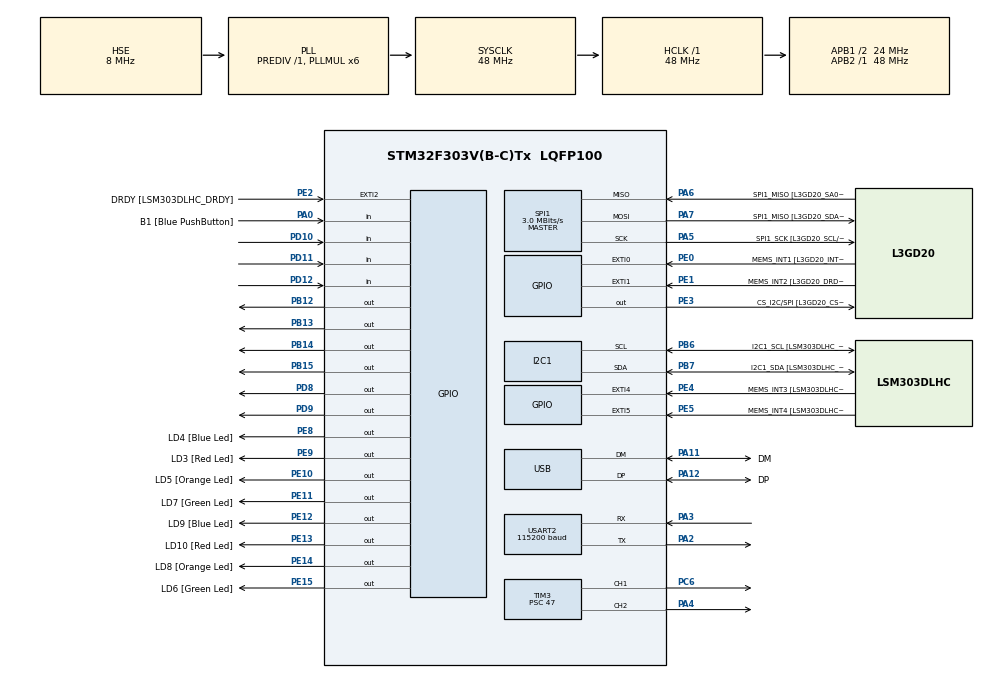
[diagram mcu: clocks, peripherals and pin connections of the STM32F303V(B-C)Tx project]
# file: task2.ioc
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I2C1.Timing=0x00201D2B
I2C1.Timing-I2C=0x2000090E
Mcu.Family=STM32F3
Mcu.Name=STM32F303V(B-C)Tx
Mcu.Package=LQFP100
NVIC.PriorityGroup=NVIC_PRIORITYGROUP_0
NVIC.TIM2_IRQn=true\:0\:0\:false\:false\:true\:true\:true\:true
NVIC.TIM3_IRQn=true\:0\:0\:false\:false\:true\:true\:true\:true
NVIC.USART2_IRQn=true\:0\:0\:false\:false\:true\:true\:true\:true
NVIC.USB_LP_CAN_RX0_IRQn=true\:0\:0\:false\:false\:true\:false\:true\:true
PA0.GPIO_Label=B1 [Blue PushButton]
PA0.Signal=GPIO_Input
PA11.GPIO_Label=DM
PA11.Mode=Device
PA11.Signal=USB_DM
PA12.GPIO_Label=DP
PA12.Mode=Device
PA12.Signal=USB_DP
PA13.GPIO_Label=SWDIO
PA13.Mode=Serial_Wire
PA13.Signal=SYS_JTMS-SWDIO
PA14.GPIO_Label=SWCLK
PA14.Mode=Serial_Wire
PA14.Signal=SYS_JTCK-SWCLK
PA2.Mode=Asynchronous
PA2.Signal=USART2_TX
PA3.Mode=Asynchronous
PA3.Signal=USART2_RX
PA4.Signal=S_TIM3_CH2
PA5.GPIO_Label=SPI1_SCK [L3GD20_SCL/SPC]
PA5.Mode=Full_Duplex_Master
PA5.Signal=SPI1_SCK
PA6.GPIO_Label=SPI1_MISO [L3GD20_SA0/SDO]
PA6.Mode=Full_Duplex_Master
PA6.Signal=SPI1_MISO
PA7.GPIO_Label=SPI1_MISO [L3GD20_SDA/SDI/SDO]
PA7.Mode=Full_Duplex_Master
PA7.Signal=SPI1_MOSI
PB12.Signal=GPIO_Output
PB13.Signal=GPIO_Output
PB14.Signal=GPIO_Output
PB15.Signal=GPIO_Output
PB3.GPIO_Label=SWO
PB3.Signal=SYS_JTDO-TRACESWO
PB6.GPIO_Label=I2C1_SCL [LSM303DLHC_SCL]
PB6.GPIO_Pu=GPIO_PULLUP
PB6.Mode=I2C
PB6.Signal=I2C1_SCL
PB7.GPIO_Label=I2C1_SDA [LSM303DLHC_SDA]
PB7.GPIO_Pu=GPIO_PULLUP
PB7.Mode=I2C
PB7.Signal=I2C1_SDA
PC14-OSC32_IN.GPIO_Label=OSC32_IN
PC14-OSC32_IN.Signal=RCC_OSC32_IN
PC15-OSC32_OUT.GPIO_Label=OSC32_OUT
PC15-OSC32_OUT.Signal=RCC_OSC32_OUT
PC6.Signal=S_TIM3_CH1
PD10.Signal=GPIO_Input
PD11.Signal=GPIO_Input
PD12.Signal=GPIO_Input
PD8.Signal=GPIO_Output
PD9.Signal=GPIO_Output
PE0.GPIO_Label=MEMS_INT1 [L3GD20_INT1]
PE0.GPIO_ModeDefaultEXTI=GPIO_MODE_EVT_RISING
PE0.Signal=GPXTI0
PE1.GPIO_Label=MEMS_INT2 [L3GD20_DRDY/INT2]
PE1.GPIO_ModeDefaultEXTI=GPIO_MODE_EVT_RISING
PE1.Signal=GPXTI1
PE10.GPIO_Label=LD5 [Orange Led]
PE10.Signal=GPIO_Output
PE11.GPIO_Label=LD7 [Green Led]
PE11.Signal=GPIO_Output
PE12.GPIO_Label=LD9 [Blue Led]
PE12.Signal=GPIO_Output
PE13.GPIO_Label=LD10 [Red Led]
PE13.Signal=GPIO_Output
PE14.GPIO_Label=LD8 [Orange Led]
PE14.Signal=GPIO_Output
PE15.GPIO_Label=LD6 [Green Led]
PE15.Signal=GPIO_Output
PE2.GPIO_Label=DRDY [LSM303DLHC_DRDY]
PE2.GPIO_ModeDefaultEXTI=GPIO_MODE_EVT_RISING
PE2.Signal=GPXTI2
PE3.GPIO_Label=CS_I2C/SPI [L3GD20_CS_I2C/SPI]
PE3.Signal=GPIO_Output
PE4.GPIO_Label=MEMS_INT3 [LSM303DLHC_INT1]
PE4.GPIO_ModeDefaultEXTI=GPIO_MODE_EVT_RISING
PE4.Signal=GPXTI4
PE5.GPIO_Label=MEMS_INT4 [LSM303DLHC_INT2]
PE5.GPIO_ModeDefaultEXTI=GPIO_MODE_EVT_RISING
PE5.Signal=GPXTI5
PE8.GPIO_Label=LD4 [Blue Led]
PE8.Signal=GPIO_Output
PE9.GPIO_Label=LD3 [Red Led]
PE9.Signal=GPIO_Output
PF0-OSC_IN.GPIO_Label=OSC_IN
PF0-OSC_IN.Mode=HSE-External-Clock-Source
PF0-OSC_IN.Signal=RCC_OSC_IN
PF1-OSC_OUT.GPIO_Label=OSC_OUT
PF1-OSC_OUT.Signal=RCC_OSC_OUT
ProjectManager.HeapSize=0x200
ProjectManager.StackSize=0x400
ProjectManager.TargetToolchain=CMake
RCC.AHBFreq_Value=48000000
RCC.APB1CLKDivider=RCC_HCLK_DIV2
RCC.APB1Freq_Value=24000000
RCC.APB1TimFreq_Value=48000000
RCC.APB2Freq_Value=48000000
RCC.APB2TimFreq_Value=48000000
RCC.CortexFreq_Value=48000000
RCC.HCLKFreq_Value=48000000
RCC.HSE_VALUE=8000000
RCC.HSI_VALUE=8000000
RCC.LSE_VALUE=32768
RCC.PLLMUL=RCC_PLL_MUL6
RCC.SYSCLKFreq_VALUE=48000000
RCC.SYSCLKSourceVirtual=RCC_SYSCLKSOURCE_PLLCLK
RCC.USBFreq_Value=48000000
SH.S_TIM3_CH1.0=TIM3_CH1,PWM Generation1 CH1
SH.S_TIM3_CH2.0=TIM3_CH2,PWM Generation2 CH2
SPI1.BaudRatePrescaler=SPI_BAUDRATEPRESCALER_16
SPI1.BaudRatePrescaler-Full_Duplex_Master=SPI_BAUDRATEPRESCALER_2
SPI1.CLKPhase=SPI_PHASE_2EDGE
SPI1.CLKPolarity=SPI_POLARITY_HIGH
SPI1.CalculateBaudRate=3.0 MBits/s
SPI1.CalculateBaudRate-Full_Duplex_Master=24.0 MBits/s
SPI1.DataSize=SPI_DATASIZE_8BIT
SPI1.Direction=SPI_DIRECTION_2LINES
SPI1.Mode=SPI_MODE_MASTER
SPI1.Mode-Full_Duplex_Master=SPI_MODE_MASTER
SPI1.VirtualType=VM_MASTER
TIM2.Period=4999
TIM2.Prescaler=47
TIM3.Channel-PWM\ Generation1\ CH1=TIM_CHANNEL_1
TIM3.Channel-PWM\ Generation2\ CH2=TIM_CHANNEL_2
TIM3.Period=999
TIM3.Prescaler=47
USART2.BaudRate=115200
USART2.VirtualMode-Asynchronous=VM_ASYNC
USB_DEVICE.CLASS_NAME_FS=CDC
USB_DEVICE.VirtualMode=Cdc
USB_DEVICE.VirtualModeFS=Cdc_FS
VP_TIM2_VS_ClockSourceINT.Mode=Internal
VP_TIM3_VS_ClockSourceINT.Mode=Internal
VP_USB_DEVICE_VS_USB_DEVICE_CDC_FS.Mode=CDC_FS
board=STM32F3DISCOVERY

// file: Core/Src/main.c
/* USER CODE BEGIN Header */
/**
  ******************************************************************************
  * @file           : main.c
  * @brief          : Lab 11 Task 2 - PID Controller for Self-Balancing Robot
  ******************************************************************************
  * TIM2 = 200Hz control loop ISR (complementary filter + PID)
  * TIM3 = PWM generation for motors (CH1=left on PC6, CH2=right on PA4)
  * Motor direction pins:
  *   Left  motor: PB12 (IN1), PB13 (IN2)
  *   Right motor: PB14 (IN1), PB15 (IN2)
  ******************************************************************************
  */
/* USER CODE END Header */
#include "main.h"
#include "usb_device.h"

/* USER CODE BEGIN Includes */
#include <math.h>
#include <stdio.h>
#include <string.h>
#include <stdarg.h>
/* USER CODE END Includes */

/* USER CODE BEGIN PD */

/* ---- Sampling Time ---- */
#define DT 0.005f            // 200Hz -> 1/200 = 0.005s

/* ---- PID Gains ---- */
// Start with these values and tune on your robot
// Kp: main corrective force. Start around 15-30.
// Ki: eliminates steady-state offset. Start small (0.5-2).
// Kd: damps oscillations. Start around 0.1-0.5.
#define KP  30.0f
#define KI  0.50f
#define KD 2.0f

/* ---- Moving Control Variables ---- */
#define MOVE_ANGLE_OFFSET 3.0f    // 3 degrees of lean for movement
#define MOVE_MAX_PWM 300.0f       // 30% of 999 max duty cycle
#define MOVE_MIN_PWM -300.0f
#define CRASH_ANGLE_LIMIT 45.0f   // Crash detection limit

// Moving PID Gains (can be tuned separately from static balancing)
#define KP_MOVE 25.0f
#define KI_MOVE 0.50f
#define KD_MOVE 1.0f

/* ---- Setpoint ---- */
// The target angle in degrees (0 = perfectly upright)
// You may need to offset this slightly if your robot's center
// of gravity isn't perfectly centered. Tune by observation.
#define SETPOINT -2.34f

/* ---- Output Limits ---- */
#define PID_OUT_MAX  999.0f   // TIM3 period = 999, so max PWM = 999
#define PID_OUT_MIN -999.0f

/* ---- Integral Anti-Windup Limit ---- */
#define INTEGRAL_MAX  200.0f
#define INTEGRAL_MIN -200.0f

/* ---- Complementary Filter Weights ---- */
#define COMP_GYRO_WEIGHT  0.98f
#define COMP_ACC_WEIGHT   0.02f

typedef enum {
    STATE_STATIC,
    STATE_FWD,
    STATE_BWD
} RobotState;

volatile RobotState robot_state = STATE_STATIC;
uint8_t bt_rx_data;

/* USER CODE END PD */

I2C_HandleTypeDef hi2c1;

SPI_HandleTypeDef hspi1;

TIM_HandleTypeDef htim2;
TIM_HandleTypeDef htim3;

UART_HandleTypeDef huart2;

/* USER CODE BEGIN PV */

/* ---- Angle Estimation Variables ---- */
volatile float shared_angle   = 0.0f;   // Bridge between ISR and main
volatile float shared_pid_out = 0.0f;   // PID output for display
volatile uint8_t display_flag = 0;

// For display/debug in main loop
float gyro_rate = 0.0f;
float acc_angle = 0.0f;

/* USER CODE END PV */

void SystemClock_Config(void);
static void MX_GPIO_Init(void);
static void MX_I2C1_Init(void);
static void MX_SPI1_Init(void);
static void MX_TIM3_Init(void);
static void MX_TIM2_Init(void);
static void MX_USART2_UART_Init(void);

/* USER CODE BEGIN 0 */

/* ============================================================
 *  I3G4250D (Gyroscope) SPI Read/Write
 * ============================================================ */
void I3G_WriteReg(uint8_t reg_addr, uint8_t data) {
    uint8_t tx_buffer[2];
    tx_buffer[0] = reg_addr & 0x7F;  // Bit 7 = 0 for WRITE
    tx_buffer[1] = data;

    HAL_GPIO_WritePin(GPIOE, GPIO_PIN_3, GPIO_PIN_RESET); // CS LOW
    HAL_SPI_Transmit(&hspi1, tx_buffer, 2, HAL_MAX_DELAY);
    HAL_GPIO_WritePin(GPIOE, GPIO_PIN_3, GPIO_PIN_SET);   // CS HIGH
}

uint8_t I3G_ReadReg(uint8_t reg_addr) {
    uint8_t tx_data = reg_addr | 0x80;  // Bit 7 = 1 for READ
    uint8_t rx_data;

    HAL_GPIO_WritePin(GPIOE, GPIO_PIN_3, GPIO_PIN_RESET);
    HAL_SPI_Transmit(&hspi1, &tx_data, 1, HAL_MAX_DELAY);
    HAL_SPI_Receive(&hspi1, &rx_data, 1, HAL_MAX_DELAY);
    HAL_GPIO_WritePin(GPIOE, GPIO_PIN_3, GPIO_PIN_SET);

    return rx_data;
}

/* ============================================================
 *  Motor Control Functions
 * ============================================================
 *
 *  Left Motor:
 *    PWM  -> TIM3_CH1 (PC6)   => Shield pin D9
 *    IN1  -> PB12              => Shield pin D6
 *    IN2  -> PB13              => Shield pin D7
 *
 *  Right Motor:
 *    PWM  -> TIM3_CH2 (PA4)   => Shield pin D10
 *    IN1  -> PB14              => Shield pin D8
 *    IN2  -> PB15              => Shield pin D12
 *
 *  Direction logic (L298N style):
 *    Forward  (CW):  IN1=HIGH, IN2=LOW
 *    Backward (CCW): IN1=LOW,  IN2=HIGH
 *    Brake/Stop:     IN1=LOW,  IN2=LOW
 */

void Motor_Left_Forward(uint16_t speed) {
    HAL_GPIO_WritePin(GPIOB, GPIO_PIN_12, GPIO_PIN_SET);    // IN1 = HIGH
    HAL_GPIO_WritePin(GPIOB, GPIO_PIN_13, GPIO_PIN_RESET);  // IN2 = LOW
    __HAL_TIM_SET_COMPARE(&htim3, TIM_CHANNEL_1, speed);
}

void Motor_Left_Backward(uint16_t speed) {
    HAL_GPIO_WritePin(GPIOB, GPIO_PIN_12, GPIO_PIN_RESET);  // IN1 = LOW
    HAL_GPIO_WritePin(GPIOB, GPIO_PIN_13, GPIO_PIN_SET);    // IN2 = HIGH
    __HAL_TIM_SET_COMPARE(&htim3, TIM_CHANNEL_1, speed);
}

void Motor_Left_Stop(void) {
    HAL_GPIO_WritePin(GPIOB, GPIO_PIN_12, GPIO_PIN_RESET);
    HAL_GPIO_WritePin(GPIOB, GPIO_PIN_13, GPIO_PIN_RESET);
    __HAL_TIM_SET_COMPARE(&htim3, TIM_CHANNEL_1, 0);
}

void Motor_Right_Forward(uint16_t speed) {
    HAL_GPIO_WritePin(GPIOB, GPIO_PIN_14, GPIO_PIN_SET);    // IN1 = HIGH
    HAL_GPIO_WritePin(GPIOB, GPIO_PIN_15, GPIO_PIN_RESET);  // IN2 = LOW
    __HAL_TIM_SET_COMPARE(&htim3, TIM_CHANNEL_2, speed);
}

void Motor_Right_Backward(uint16_t speed) {
    HAL_GPIO_WritePin(GPIOB, GPIO_PIN_14, GPIO_PIN_RESET);  // IN1 = LOW
    HAL_GPIO_WritePin(GPIOB, GPIO_PIN_15, GPIO_PIN_SET);    // IN2 = HIGH
    __HAL_TIM_SET_COMPARE(&htim3, TIM_CHANNEL_2, speed);
}

void Motor_Right_Stop(void) {
    HAL_GPIO_WritePin(GPIOB, GPIO_PIN_14, GPIO_PIN_RESET);
    HAL_GPIO_WritePin(GPIOB, GPIO_PIN_15, GPIO_PIN_RESET);
    __HAL_TIM_SET_COMPARE(&htim3, TIM_CHANNEL_2, 0);
}

float PID_Static(float current_angle) {
    static float integral = 0.0f;
    static float prev_error = 0.0f;

    float error = SETPOINT - current_angle;

    float p_term = KP * error;

    integral += KI * error * DT;
    if (integral > INTEGRAL_MAX) integral = INTEGRAL_MAX;
    if (integral < INTEGRAL_MIN) integral = INTEGRAL_MIN;

    float derivative = (error - prev_error) / DT;
    float d_term = KD * derivative;
    prev_error = error;

    float output = p_term + integral + d_term;

    if (output > PID_OUT_MAX) output = PID_OUT_MAX;
    if (output < PID_OUT_MIN) output = PID_OUT_MIN;

    return output;
}

float PID_Moving(float current_angle, float target_setpoint) {
    static float integral = 0.0f;
    static float prev_error = 0.0f;

    // Calculate error using the offset setpoint
    float error = target_setpoint - current_angle;

    float p_term = KP_MOVE * error;

    integral += KI_MOVE * error * DT;
    if (integral > INTEGRAL_MAX) integral = INTEGRAL_MAX;
    if (integral < INTEGRAL_MIN) integral = INTEGRAL_MIN;

    float derivative = (error - prev_error) / DT;
    float d_term = KD_MOVE * derivative;
    prev_error = error;

    float output = p_term + integral + d_term;

    // Limit to 30% duty cycle for smooth, slow movement
    if (output > MOVE_MAX_PWM) output = MOVE_MAX_PWM;
    if (output < MOVE_MIN_PWM) output = MOVE_MIN_PWM;

    return output;
}

void cout(const char *fmt, ...) {
  char buffer[128];
  va_list args;
  va_start(args, fmt);
  int l = vsnprintf(buffer, sizeof(buffer), fmt, args);
  va_end(args);
  if (l > 0) {
    HAL_UART_Transmit(&huart2, (uint8_t*)buffer, l, HAL_MAX_DELAY);
  }
}
void Motors_Drive(float pid_output) {
  // Convert float to unsigned PWM value
  uint16_t pwm_val;

  if (pid_output > 0) {
    // Clamp to max
    if (pid_output > PID_OUT_MAX) pid_output = PID_OUT_MAX;
      pwm_val = (uint16_t)pid_output;
    Motor_Left_Forward(pwm_val);
    Motor_Right_Forward(pwm_val);
    }
  else if (pid_output < 0) {
    // Make positive for PWM
    float abs_out = -pid_output;
    if (abs_out > PID_OUT_MAX) abs_out = PID_OUT_MAX;
      pwm_val = (uint16_t)abs_out;
    Motor_Left_Backward(pwm_val);
    Motor_Right_Backward(pwm_val);
    }
  else {
    Motor_Left_Stop();
    Motor_Right_Stop();
}
}

/* USER CODE END 0 */

int main(void)
{

  /* MCU Configuration--------------------------------------------------------*/

  /* Reset of all peripherals, Initializes the Flash interface and the Systick. */
  HAL_Init();

  /* Configure the system clock */
  SystemClock_Config();

  /* Initialize all configured peripherals */
  MX_GPIO_Init();
  MX_I2C1_Init();
  MX_SPI1_Init();
  MX_TIM3_Init();
  MX_USB_DEVICE_Init();
  MX_TIM2_Init();
  MX_USART2_UART_Init();
  /* USER CODE BEGIN 2 */

  HAL_UART_Receive_IT(&huart2, &bt_rx_data, 1);

  // ---- Initialize Gyroscope (I3G4250D via SPI) ----
  // CTRL_REG1 = 0x20: 200Hz ODR, normal mode, XYZ enable
  I3G_WriteReg(0x20, 0x4F);

  // ---- Initialize Accelerometer (LSM303DLHC via I2C) ----
  // CTRL_REG1_A = 0x20, value 0x57 = 100Hz, normal mode, XYZ enabled
  uint8_t acc_init[2] = {0x20, 0x57};
  HAL_I2C_Master_Transmit(&hi2c1, 0x32, acc_init, 2, 50);

  // ---- Start PWM on both channels for motor speed control ----
  HAL_TIM_PWM_Start(&htim3, TIM_CHANNEL_1);  // Left motor  (PC6)
  HAL_TIM_PWM_Start(&htim3, TIM_CHANNEL_2);  // Right motor (PA4)

  // Set initial PWM to 0 (motors off)
  __HAL_TIM_SET_COMPARE(&htim3, TIM_CHANNEL_1, 0);
  __HAL_TIM_SET_COMPARE(&htim3, TIM_CHANNEL_2, 0);

  // ---- Start TIM2 interrupt for 200Hz control loop ----
  HAL_TIM_Base_Start_IT(&htim2);

  // Small delay to let sensors settle
  HAL_Delay(100);

  /* USER CODE END 2 */

  /* Infinite loop */
  /* USER CODE BEGIN WHILE */
  while (1)
  {

      if (huart2.RxState != HAL_UART_STATE_BUSY_RX) {
          __HAL_UART_CLEAR_OREFLAG(&huart2); // Clear Overrun flag if present
          HAL_UART_Receive_IT(&huart2, &bt_rx_data, 1);
      }
     if (display_flag == 1) {
          display_flag = 0;

          // 1. Extract integer and fractional parts for shared_angle
          int shared_angle_i = (int)shared_angle;
          int shared_angle_f = (int)(fabsf(shared_angle - shared_angle_i) * 100);

          // 2. Extract integer and fractional parts for acc_angle
          int acc_angle_i = (int)acc_angle;
          int acc_angle_f = (int)(fabsf(acc_angle - acc_angle_i) * 100);

          // 3. Extract integer and fractional parts for gyro_rate
          int gyro_rate_i = (int)gyro_rate;
          int gyro_rate_f = (int)(fabsf(gyro_rate - gyro_rate_i) * 100);

          // 4. Extract integer and fractional parts for shared_pid_out
          int shared_pid_out_i = (int)shared_pid_out;
          int shared_pid_out_f = (int)(fabsf(shared_pid_out - shared_pid_out_i) * 100);

          // Print using integer formatting
          cout("%d.%02d,%d.%02d,%d.%02d,%d.%02d\r\n",
                shared_angle_i, shared_angle_f,
                acc_angle_i, acc_angle_f,
                gyro_rate_i, gyro_rate_f,
                shared_pid_out_i, shared_pid_out_f);

          cout("State: %s\r\n", robot_state == STATE_STATIC ? "STATIC" : robot_state == STATE_FWD ? "FORWARD" : "BACKWARD");
                }

    /* USER CODE END WHILE */

  }
}

void SystemClock_Config(void)
{
  RCC_OscInitTypeDef RCC_OscInitStruct = {0};
  RCC_ClkInitTypeDef RCC_ClkInitStruct = {0};
  RCC_PeriphCLKInitTypeDef PeriphClkInit = {0};

  /** Initializes the RCC Oscillators according to the specified parameters
  * in the RCC_OscInitTypeDef structure.
  */
  RCC_OscInitStruct.OscillatorType = RCC_OSCILLATORTYPE_HSI|RCC_OSCILLATORTYPE_HSE;
  RCC_OscInitStruct.HSEState = RCC_HSE_BYPASS;
  RCC_OscInitStruct.HSEPredivValue = RCC_HSE_PREDIV_DIV1;
  RCC_OscInitStruct.HSIState = RCC_HSI_ON;
  RCC_OscInitStruct.HSICalibrationValue = RCC_HSICALIBRATION_DEFAULT;
  RCC_OscInitStruct.PLL.PLLState = RCC_PLL_ON;
  RCC_OscInitStruct.PLL.PLLSource = RCC_PLLSOURCE_HSE;
  RCC_OscInitStruct.PLL.PLLMUL = RCC_PLL_MUL6;
  if (HAL_RCC_OscConfig(&RCC_OscInitStruct) != HAL_OK)
  {
    Error_Handler();
  }

  /** Initializes the CPU, AHB and APB buses clocks
  */
  RCC_ClkInitStruct.ClockType = RCC_CLOCKTYPE_HCLK|RCC_CLOCKTYPE_SYSCLK
                              |RCC_CLOCKTYPE_PCLK1|RCC_CLOCKTYPE_PCLK2;
  RCC_ClkInitStruct.SYSCLKSource = RCC_SYSCLKSOURCE_PLLCLK;
  RCC_ClkInitStruct.AHBCLKDivider = RCC_SYSCLK_DIV1;
  RCC_ClkInitStruct.APB1CLKDivider = RCC_HCLK_DIV2;
  RCC_ClkInitStruct.APB2CLKDivider = RCC_HCLK_DIV1;

  if (HAL_RCC_ClockConfig(&RCC_ClkInitStruct, FLASH_LATENCY_1) != HAL_OK)
  {
    Error_Handler();
  }
  PeriphClkInit.PeriphClockSelection = RCC_PERIPHCLK_USB|RCC_PERIPHCLK_USART2
                              |RCC_PERIPHCLK_I2C1;
  PeriphClkInit.Usart2ClockSelection = RCC_USART2CLKSOURCE_PCLK1;
  PeriphClkInit.I2c1ClockSelection = RCC_I2C1CLKSOURCE_HSI;
  PeriphClkInit.USBClockSelection = RCC_USBCLKSOURCE_PLL;
  if (HAL_RCCEx_PeriphCLKConfig(&PeriphClkInit) != HAL_OK)
  {
    Error_Handler();
  }
}

static void MX_I2C1_Init(void)
{

  hi2c1.Instance = I2C1;
  hi2c1.Init.Timing = 0x00201D2B;
  hi2c1.Init.OwnAddress1 = 0;
  hi2c1.Init.AddressingMode = I2C_ADDRESSINGMODE_7BIT;
  hi2c1.Init.DualAddressMode = I2C_DUALADDRESS_DISABLE;
  hi2c1.Init.OwnAddress2 = 0;
  hi2c1.Init.OwnAddress2Masks = I2C_OA2_NOMASK;
  hi2c1.Init.GeneralCallMode = I2C_GENERALCALL_DISABLE;
  hi2c1.Init.NoStretchMode = I2C_NOSTRETCH_DISABLE;
  if (HAL_I2C_Init(&hi2c1) != HAL_OK)
  {
    Error_Handler();
  }

  /** Configure Analogue filter
  */
  if (HAL_I2CEx_ConfigAnalogFilter(&hi2c1, I2C_ANALOGFILTER_ENABLE) != HAL_OK)
  {
    Error_Handler();
  }

  /** Configure Digital filter
  */
  if (HAL_I2CEx_ConfigDigitalFilter(&hi2c1, 0) != HAL_OK)
  {
    Error_Handler();
  }

}

static void MX_SPI1_Init(void)
{

  /* SPI1 parameter configuration*/
  hspi1.Instance = SPI1;
  hspi1.Init.Mode = SPI_MODE_MASTER;
  hspi1.Init.Direction = SPI_DIRECTION_2LINES;
  hspi1.Init.DataSize = SPI_DATASIZE_8BIT;
  hspi1.Init.CLKPolarity = SPI_POLARITY_HIGH;
  hspi1.Init.CLKPhase = SPI_PHASE_2EDGE;
  hspi1.Init.NSS = SPI_NSS_SOFT;
  hspi1.Init.BaudRatePrescaler = SPI_BAUDRATEPRESCALER_16;
  hspi1.Init.FirstBit = SPI_FIRSTBIT_MSB;
  hspi1.Init.TIMode = SPI_TIMODE_DISABLE;
  hspi1.Init.CRCCalculation = SPI_CRCCALCULATION_DISABLE;
  hspi1.Init.CRCPolynomial = 7;
  hspi1.Init.CRCLength = SPI_CRC_LENGTH_DATASIZE;
  hspi1.Init.NSSPMode = SPI_NSS_PULSE_DISABLE;
  if (HAL_SPI_Init(&hspi1) != HAL_OK)
  {
    Error_Handler();
  }

}

static void MX_TIM2_Init(void)
{

  TIM_ClockConfigTypeDef sClockSourceConfig = {0};
  TIM_MasterConfigTypeDef sMasterConfig = {0};

  htim2.Instance = TIM2;
  htim2.Init.Prescaler = 47;
  htim2.Init.CounterMode = TIM_COUNTERMODE_UP;
  htim2.Init.Period = 4999;
  htim2.Init.ClockDivision = TIM_CLOCKDIVISION_DIV1;
  htim2.Init.AutoReloadPreload = TIM_AUTORELOAD_PRELOAD_DISABLE;
  if (HAL_TIM_Base_Init(&htim2) != HAL_OK)
  {
    Error_Handler();
  }
  sClockSourceConfig.ClockSource = TIM_CLOCKSOURCE_INTERNAL;
  if (HAL_TIM_ConfigClockSource(&htim2, &sClockSourceConfig) != HAL_OK)
  {
    Error_Handler();
  }
  sMasterConfig.MasterOutputTrigger = TIM_TRGO_RESET;
  sMasterConfig.MasterSlaveMode = TIM_MASTERSLAVEMODE_DISABLE;
  if (HAL_TIMEx_MasterConfigSynchronization(&htim2, &sMasterConfig) != HAL_OK)
  {
    Error_Handler();
  }

}

static void MX_TIM3_Init(void)
{

  TIM_ClockConfigTypeDef sClockSourceConfig = {0};
  TIM_MasterConfigTypeDef sMasterConfig = {0};
  TIM_OC_InitTypeDef sConfigOC = {0};

  htim3.Instance = TIM3;
  htim3.Init.Prescaler = 47;
  htim3.Init.CounterMode = TIM_COUNTERMODE_UP;
  htim3.Init.Period = 999;
  htim3.Init.ClockDivision = TIM_CLOCKDIVISION_DIV1;
  htim3.Init.AutoReloadPreload = TIM_AUTORELOAD_PRELOAD_DISABLE;
  if (HAL_TIM_Base_Init(&htim3) != HAL_OK)
  {
    Error_Handler();
  }
  sClockSourceConfig.ClockSource = TIM_CLOCKSOURCE_INTERNAL;
  if (HAL_TIM_ConfigClockSource(&htim3, &sClockSourceConfig) != HAL_OK)
  {
    Error_Handler();
  }
  if (HAL_TIM_PWM_Init(&htim3) != HAL_OK)
  {
    Error_Handler();
  }
  sMasterConfig.MasterOutputTrigger = TIM_TRGO_RESET;
  sMasterConfig.MasterSlaveMode = TIM_MASTERSLAVEMODE_DISABLE;
  if (HAL_TIMEx_MasterConfigSynchronization(&htim3, &sMasterConfig) != HAL_OK)
  {
    Error_Handler();
  }
  sConfigOC.OCMode = TIM_OCMODE_PWM1;
  sConfigOC.Pulse = 0;
  sConfigOC.OCPolarity = TIM_OCPOLARITY_HIGH;
  sConfigOC.OCFastMode = TIM_OCFAST_DISABLE;
  if (HAL_TIM_PWM_ConfigChannel(&htim3, &sConfigOC, TIM_CHANNEL_1) != HAL_OK)
  {
    Error_Handler();
  }
  if (HAL_TIM_PWM_ConfigChannel(&htim3, &sConfigOC, TIM_CHANNEL_2) != HAL_OK)
  {
    Error_Handler();
  }
  HAL_TIM_MspPostInit(&htim3);

}

static void MX_USART2_UART_Init(void)
{

  huart2.Instance = USART2;
  huart2.Init.BaudRate = 9600;
  huart2.Init.WordLength = UART_WORDLENGTH_8B;
  huart2.Init.StopBits = UART_STOPBITS_1;
  huart2.Init.Parity = UART_PARITY_NONE;
  huart2.Init.Mode = UART_MODE_TX_RX;
  huart2.Init.HwFlowCtl = UART_HWCONTROL_NONE;
  huart2.Init.OverSampling = UART_OVERSAMPLING_16;
  huart2.Init.OneBitSampling = UART_ONE_BIT_SAMPLE_DISABLE;
  huart2.AdvancedInit.AdvFeatureInit = UART_ADVFEATURE_NO_INIT;
  if (HAL_UART_Init(&huart2) != HAL_OK)
  {
    Error_Handler();
  }

}

static void MX_GPIO_Init(void)
{
  GPIO_InitTypeDef GPIO_InitStruct = {0};

  /* GPIO Ports Clock Enable */
  __HAL_RCC_GPIOE_CLK_ENABLE();
  __HAL_RCC_GPIOC_CLK_ENABLE();
  __HAL_RCC_GPIOF_CLK_ENABLE();
  __HAL_RCC_GPIOA_CLK_ENABLE();
  __HAL_RCC_GPIOB_CLK_ENABLE();
  __HAL_RCC_GPIOD_CLK_ENABLE();

  /*Configure GPIO pin Output Level */
  HAL_GPIO_WritePin(GPIOE, CS_I2C_SPI_Pin|LD4_Pin|LD3_Pin|LD5_Pin
                          |LD7_Pin|LD9_Pin|LD10_Pin|LD8_Pin
                          |LD6_Pin, GPIO_PIN_RESET);

  /*Configure GPIO pin Output Level */
  HAL_GPIO_WritePin(GPIOB, GPIO_PIN_12|GPIO_PIN_13|GPIO_PIN_14|GPIO_PIN_15, GPIO_PIN_RESET);

  /*Configure GPIO pin Output Level */
  HAL_GPIO_WritePin(GPIOD, GPIO_PIN_8|GPIO_PIN_9, GPIO_PIN_RESET);

  /*Configure GPIO pins : DRDY_Pin MEMS_INT3_Pin MEMS_INT4_Pin MEMS_INT1_Pin
                           MEMS_INT2_Pin */
  GPIO_InitStruct.Pin = DRDY_Pin|MEMS_INT3_Pin|MEMS_INT4_Pin|MEMS_INT1_Pin
                          |MEMS_INT2_Pin;
  GPIO_InitStruct.Mode = GPIO_MODE_EVT_RISING;
  GPIO_InitStruct.Pull = GPIO_NOPULL;
  HAL_GPIO_Init(GPIOE, &GPIO_InitStruct);

  /*Configure GPIO pins : CS_I2C_SPI_Pin LD4_Pin LD3_Pin LD5_Pin
                           LD7_Pin LD9_Pin LD10_Pin LD8_Pin
                           LD6_Pin */
  GPIO_InitStruct.Pin = CS_I2C_SPI_Pin|LD4_Pin|LD3_Pin|LD5_Pin
                          |LD7_Pin|LD9_Pin|LD10_Pin|LD8_Pin
                          |LD6_Pin;
  GPIO_InitStruct.Mode = GPIO_MODE_OUTPUT_PP;
  GPIO_InitStruct.Pull = GPIO_NOPULL;
  GPIO_InitStruct.Speed = GPIO_SPEED_FREQ_LOW;
  HAL_GPIO_Init(GPIOE, &GPIO_InitStruct);

  /*Configure GPIO pin : B1_Pin */
  GPIO_InitStruct.Pin = B1_Pin;
  GPIO_InitStruct.Mode = GPIO_MODE_INPUT;
  GPIO_InitStruct.Pull = GPIO_NOPULL;
  HAL_GPIO_Init(B1_GPIO_Port, &GPIO_InitStruct);

  /*Configure GPIO pins : PB12 PB13 PB14 PB15 */
  GPIO_InitStruct.Pin = GPIO_PIN_12|GPIO_PIN_13|GPIO_PIN_14|GPIO_PIN_15;
  GPIO_InitStruct.Mode = GPIO_MODE_OUTPUT_PP;
  GPIO_InitStruct.Pull = GPIO_NOPULL;
  GPIO_InitStruct.Speed = GPIO_SPEED_FREQ_LOW;
  HAL_GPIO_Init(GPIOB, &GPIO_InitStruct);

  /*Configure GPIO pins : PD8 PD9 */
  GPIO_InitStruct.Pin = GPIO_PIN_8|GPIO_PIN_9;
  GPIO_InitStruct.Mode = GPIO_MODE_OUTPUT_PP;
  GPIO_InitStruct.Pull = GPIO_NOPULL;
  GPIO_InitStruct.Speed = GPIO_SPEED_FREQ_LOW;
  HAL_GPIO_Init(GPIOD, &GPIO_InitStruct);

  /*Configure GPIO pins : PD10 PD11 PD12 */
  GPIO_InitStruct.Pin = GPIO_PIN_10|GPIO_PIN_11|GPIO_PIN_12;
  GPIO_InitStruct.Mode = GPIO_MODE_INPUT;
  GPIO_InitStruct.Pull = GPIO_NOPULL;
  HAL_GPIO_Init(GPIOD, &GPIO_InitStruct);

}

/* USER CODE BEGIN 4 */

/* ============================================================
 *  TIM2 ISR Callback — runs at 200 Hz (every 5ms)
 *
 *  This is the HEART of the system. It does:
 *   1) Read gyroscope (SPI)
 *   2) Read accelerometer (I2C)
 *   3) Complementary filter -> tilt angle
 *   4) PID controller -> motor command
 *   5) Drive motors
 *   6) Throttle UART display to ~10 Hz
 * ============================================================ */
void HAL_TIM_PeriodElapsedCallback(TIM_HandleTypeDef *htim) {

    if (htim->Instance == TIM2) {

        /* --- Persistent state variables (survive between ISR calls) --- */
        static float tilt_angle    = 0.0f;
        static float integral      = 0.0f;
        static float prev_error    = 0.0f;
        static int   uart_counter  = 0;

        /* ========================
         *  STEP 1: READ GYROSCOPE
         * ======================== */
        uint8_t y_low  = I3G_ReadReg(0x2A);  // OUT_Y_L
        uint8_t y_high = I3G_ReadReg(0x2B);  // OUT_Y_H

        int16_t raw_gyro_y = (int16_t)((y_high << 8) | y_low);

        // Scale factor for 245 dps full-scale = 0.00875 dps/digit
        float gyro_y_dps = (float)raw_gyro_y * 0.00875f;

        /* ==============================
         *  STEP 2: READ ACCELEROMETER
         * ============================== */
        uint8_t acc_reg = 0x28 | 0x80;  // Auto-increment read from OUT_X_L_A
        uint8_t acc_buf[6] = {0};

        HAL_I2C_Master_Transmit(&hi2c1, 0x32, &acc_reg, 1, 10);
        HAL_I2C_Master_Receive(&hi2c1, 0x33, acc_buf, 6, 10);

        int16_t acc_raw_x = (int16_t)((acc_buf[1] << 8) | acc_buf[0]);
        int16_t acc_raw_z = (int16_t)((acc_buf[5] << 8) | acc_buf[4]);

        // Pitch angle from accelerometer
        float acc_angle_deg = atan2f((float)acc_raw_x, (float)acc_raw_z) * (180.0f / 3.14159f);

        /* ==================================
         *  STEP 3: COMPLEMENTARY FILTER
         * ================================== */
        tilt_angle = COMP_GYRO_WEIGHT * (tilt_angle + gyro_y_dps * DT)
                   + COMP_ACC_WEIGHT  * acc_angle_deg;

        /* ==================================
         *  STEP 4: PID CONTROLLER
         * ==================================
         *
         *  error = setpoint - measured_angle
         *
         *  If angle > 0 (tilted forward), error < 0
         *    => PID output is negative? No — we want positive output
         *    to drive motors forward. So we use:
         *    error = SETPOINT - tilt_angle
         *    If tilt is positive (forward lean), error is negative,
         *    and we want to drive forward. So output = -PID or
         *    we can flip the sign convention.
         *
         *  Convention used here:
         *    error = SETPOINT - tilt_angle
         *    output > 0 => motors drive one way
         *    output < 0 => motors drive the other way
         *    The Motors_Drive() function handles the sign.
         */
        float pid_output = 0.0f;

        if (robot_state == STATE_STATIC) {
            // Standard upright balancing
            pid_output = PID_Static(tilt_angle);
        }
        else if (robot_state == STATE_FWD) {
            // Lean forward by 3 degrees
            float fwd_setpoint = SETPOINT + MOVE_ANGLE_OFFSET;
            pid_output = PID_Moving(tilt_angle, fwd_setpoint);
        }
        else if (robot_state == STATE_BWD) {
            // Lean backward by 3 degrees
            float bwd_setpoint = SETPOINT - MOVE_ANGLE_OFFSET;
            pid_output = PID_Moving(tilt_angle, bwd_setpoint);
        }

        /* ==================================
         * STEP 5: DRIVE MOTORS
         * ================================== */
        if (tilt_angle > CRASH_ANGLE_LIMIT || tilt_angle < -CRASH_ANGLE_LIMIT) {
            pid_output = 0.0f;

            // Optional safety: reset the robot state back to static
            // so it doesn't instantly try to drive off if you stand it back up.
            robot_state = STATE_STATIC;
        }

        Motors_Drive(pid_output);

        /* ==================================
         *  STEP 6: UPDATE SHARED VARIABLES
         * ================================== */
        shared_angle   = tilt_angle;
        shared_pid_out = pid_output;
        gyro_rate      = gyro_y_dps;
        acc_angle      = acc_angle_deg;

        /* ==================================
         *  STEP 7: UART DISPLAY THROTTLE
         *  200Hz / 20 = 10Hz serial output
         * ================================== */
        if (++uart_counter >= 190) {
            display_flag = 1;
            uart_counter = 0;
        }
    }
}

void HAL_UART_RxCpltCallback(UART_HandleTypeDef *huart) {
    if (huart->Instance == USART2) {
        if (bt_rx_data == 'F' || bt_rx_data == 'f') {
            robot_state = STATE_FWD;
        }
        else if (bt_rx_data == 'B' || bt_rx_data == 'b') {
            robot_state = STATE_BWD;
        }
        else if (bt_rx_data == 'S' || bt_rx_data == 's') {
            robot_state = STATE_STATIC;
        }

        // Re-arm the interrupt to listen for the next command
        HAL_UART_Receive_IT(&huart2, &bt_rx_data, 1);
    }
}

/* USER CODE END 4 */

void Error_Handler(void)
{
  __disable_irq();
  while (1)
  {
  }
}
